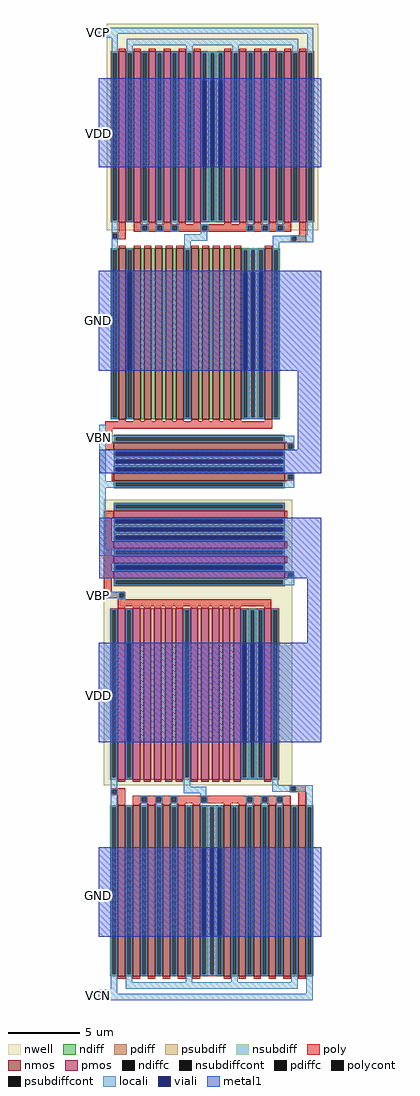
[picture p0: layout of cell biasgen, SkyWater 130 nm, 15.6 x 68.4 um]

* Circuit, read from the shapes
.subckt biasgen VBN VBP
XM1 GND VBN VBN GND sky130_fd_pr__nfet_01v8 w=12 l=0.5 m=2
XM2 n1 VCN VCN GND sky130_fd_pr__nfet_01v8 w=12 l=0.5 m=2
XM3 GND VBN VCP GND sky130_fd_pr__nfet_01v8 w=12 l=0.5 m=2
XM4 n2 n2 n1 GND sky130_fd_pr__nfet_01v8 w=12 l=0.5 m=4
XM5 n3 VBN GND GND sky130_fd_pr__nfet_01v8 w=12 l=0.5
XM6 n4 VBN n3 GND sky130_fd_pr__nfet_01v8 w=12 l=0.5
XM7 n2 n2 n2 GND sky130_fd_pr__nfet_01v8 w=12 l=0.5 m=4
XM8 n5 VBN n4 GND sky130_fd_pr__nfet_01v8 w=12 l=0.5
XM9 n6 VBN n5 GND sky130_fd_pr__nfet_01v8 w=12 l=0.5
XM10 n7 VBN n6 GND sky130_fd_pr__nfet_01v8 w=12 l=0.5
XM11 n8 VBN n7 GND sky130_fd_pr__nfet_01v8 w=12 l=0.5
XM12 GND n2 n1 GND sky130_fd_pr__nfet_01v8 w=12 l=0.5 m=2
XM13 n9 VBN n8 GND sky130_fd_pr__nfet_01v8 w=12 l=0.5
XM14 n10 VBN n9 GND sky130_fd_pr__nfet_01v8 w=12 l=0.5
XM15 n11 VBN n10 GND sky130_fd_pr__nfet_01v8 w=12 l=0.5
XM16 GND VBN n11 GND sky130_fd_pr__nfet_01v8 w=12 l=0.5
XM17 VDD VBP VBP VDD sky130_fd_pr__pfet_01v8 w=12 l=0.5
XM18 VBN VBP VDD VDD sky130_fd_pr__pfet_01v8 w=12 l=0.5 m=2
XM19 n12 VBP VDD VDD sky130_fd_pr__pfet_01v8 w=12 l=0.5
XM20 VDD VBP VCN VDD sky130_fd_pr__pfet_01v8 w=12 l=0.5 m=2
XM21 n13 VCP VCP VDD sky130_fd_pr__pfet_01v8 w=12 l=0.5 m=2
XM22 n14 VBP VDD VDD sky130_fd_pr__pfet_01v8 w=12 l=0.5
XM23 n7 n7 n13 VDD sky130_fd_pr__pfet_01v8 w=12 l=0.5 m=4
XM24 n15 VBP n14 VDD sky130_fd_pr__pfet_01v8 w=12 l=0.5
XM25 n7 n7 n7 VDD sky130_fd_pr__pfet_01v8 w=12 l=0.5 m=4
XM26 n16 VBP n15 VDD sky130_fd_pr__pfet_01v8 w=12 l=0.5
XM27 n17 VBP n16 VDD sky130_fd_pr__pfet_01v8 w=12 l=0.5
XM28 n2 VBP n17 VDD sky130_fd_pr__pfet_01v8 w=12 l=0.5
XM29 n18 VBP n2 VDD sky130_fd_pr__pfet_01v8 w=12 l=0.5
XM30 VDD n7 n13 VDD sky130_fd_pr__pfet_01v8 w=12 l=0.5 m=2
XM31 n19 VBP n18 VDD sky130_fd_pr__pfet_01v8 w=12 l=0.5
XM32 n20 VBP n19 VDD sky130_fd_pr__pfet_01v8 w=12 l=0.5
XM33 n21 VBP n20 VDD sky130_fd_pr__pfet_01v8 w=12 l=0.5
XM34 VDD VBP n21 VDD sky130_fd_pr__pfet_01v8 w=12 l=0.5
.ends

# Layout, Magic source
magic
tech sky130A
magscale 1 2
<< nwell >>
rect -4830 -290 -1860 2600
rect -4870 -8070 -2230 -4070
<< nmos >>
rect -4660 -2940 -4560 -540
rect -4450 -2940 -4350 -540
rect -4300 -2940 -4200 -540
rect -4150 -2940 -4050 -540
rect -4000 -2940 -3900 -540
rect -3850 -2940 -3750 -540
rect -3640 -2940 -3540 -540
rect -3490 -2940 -3390 -540
rect -3340 -2940 -3240 -540
rect -3190 -2940 -3090 -540
rect -3040 -2940 -2940 -540
rect -2610 -2940 -2510 -540
rect -4730 -3370 -2330 -3270
rect -4730 -3800 -2330 -3700
rect -4670 -10750 -4570 -8350
rect -4460 -10750 -4360 -8350
rect -4250 -10750 -4150 -8350
rect -4040 -10750 -3940 -8350
rect -3830 -10750 -3730 -8350
rect -3620 -10750 -3520 -8350
rect -3190 -10750 -3090 -8350
rect -2980 -10750 -2880 -8350
rect -2770 -10750 -2670 -8350
rect -2560 -10750 -2460 -8350
rect -2350 -10750 -2250 -8350
rect -2140 -10750 -2040 -8350
<< pmos >>
rect -4660 -180 -4560 2220
rect -4450 -180 -4350 2220
rect -4240 -180 -4140 2220
rect -4030 -180 -3930 2220
rect -3820 -180 -3720 2220
rect -3610 -180 -3510 2220
rect -3180 -180 -3080 2220
rect -2970 -180 -2870 2220
rect -2760 -180 -2660 2220
rect -2550 -180 -2450 2220
rect -2340 -180 -2240 2220
rect -2130 -180 -2030 2220
rect -4730 -4320 -2330 -4220
rect -4730 -4750 -2330 -4650
rect -4730 -4960 -2330 -4860
rect -4730 -5170 -2330 -5070
rect -4670 -7990 -4570 -5590
rect -4460 -7990 -4360 -5590
rect -4310 -7990 -4210 -5590
rect -4160 -7990 -4060 -5590
rect -4010 -7990 -3910 -5590
rect -3860 -7990 -3760 -5590
rect -3650 -7990 -3550 -5590
rect -3500 -7990 -3400 -5590
rect -3350 -7990 -3250 -5590
rect -3200 -7990 -3100 -5590
rect -3050 -7990 -2950 -5590
rect -2620 -7990 -2520 -5590
<< ndiff >>
rect -4770 -570 -4660 -540
rect -4770 -2910 -4740 -570
rect -4690 -2910 -4660 -570
rect -4770 -2940 -4660 -2910
rect -4560 -570 -4450 -540
rect -4560 -2910 -4530 -570
rect -4480 -2910 -4450 -570
rect -4560 -2940 -4450 -2910
rect -4350 -2940 -4300 -540
rect -4200 -2940 -4150 -540
rect -4050 -2940 -4000 -540
rect -3900 -2940 -3850 -540
rect -3750 -570 -3640 -540
rect -3750 -2910 -3720 -570
rect -3670 -2910 -3640 -570
rect -3750 -2940 -3640 -2910
rect -3540 -2940 -3490 -540
rect -3390 -2940 -3340 -540
rect -3240 -2940 -3190 -540
rect -3090 -2940 -3040 -540
rect -2940 -570 -2830 -540
rect -2720 -570 -2610 -540
rect -2940 -2910 -2910 -570
rect -2860 -2910 -2830 -570
rect -2720 -2910 -2690 -570
rect -2640 -2910 -2610 -570
rect -2940 -2940 -2830 -2910
rect -2720 -2940 -2610 -2910
rect -2510 -570 -2400 -540
rect -2510 -2910 -2480 -570
rect -2430 -2910 -2400 -570
rect -2510 -2940 -2400 -2910
rect -4730 -3190 -2330 -3160
rect -4730 -3240 -4700 -3190
rect -2360 -3240 -2330 -3190
rect -4730 -3270 -2330 -3240
rect -4730 -3400 -2330 -3370
rect -4730 -3450 -4700 -3400
rect -2360 -3450 -2330 -3400
rect -4730 -3480 -2330 -3450
rect -4730 -3620 -2330 -3590
rect -4730 -3670 -4700 -3620
rect -2360 -3670 -2330 -3620
rect -4730 -3700 -2330 -3670
rect -4730 -3830 -2330 -3800
rect -4730 -3880 -4700 -3830
rect -2360 -3880 -2330 -3830
rect -4730 -3910 -2330 -3880
rect -4780 -8380 -4670 -8350
rect -4780 -10720 -4750 -8380
rect -4700 -10720 -4670 -8380
rect -4780 -10750 -4670 -10720
rect -4570 -8380 -4460 -8350
rect -4570 -10720 -4540 -8380
rect -4490 -10720 -4460 -8380
rect -4570 -10750 -4460 -10720
rect -4360 -8380 -4250 -8350
rect -4360 -10720 -4330 -8380
rect -4280 -10720 -4250 -8380
rect -4360 -10750 -4250 -10720
rect -4150 -8380 -4040 -8350
rect -4150 -10720 -4120 -8380
rect -4070 -10720 -4040 -8380
rect -4150 -10750 -4040 -10720
rect -3940 -8380 -3830 -8350
rect -3940 -10720 -3910 -8380
rect -3860 -10720 -3830 -8380
rect -3940 -10750 -3830 -10720
rect -3730 -8380 -3620 -8350
rect -3730 -10720 -3700 -8380
rect -3650 -10720 -3620 -8380
rect -3730 -10750 -3620 -10720
rect -3520 -8380 -3410 -8350
rect -3300 -8380 -3190 -8350
rect -3520 -10720 -3490 -8380
rect -3440 -10720 -3410 -8380
rect -3300 -10720 -3270 -8380
rect -3220 -10720 -3190 -8380
rect -3520 -10750 -3410 -10720
rect -3300 -10750 -3190 -10720
rect -3090 -8380 -2980 -8350
rect -3090 -10720 -3060 -8380
rect -3010 -10720 -2980 -8380
rect -3090 -10750 -2980 -10720
rect -2880 -8380 -2770 -8350
rect -2880 -10720 -2850 -8380
rect -2800 -10720 -2770 -8380
rect -2880 -10750 -2770 -10720
rect -2670 -8380 -2560 -8350
rect -2670 -10720 -2640 -8380
rect -2590 -10720 -2560 -8380
rect -2670 -10750 -2560 -10720
rect -2460 -8380 -2350 -8350
rect -2460 -10720 -2430 -8380
rect -2380 -10720 -2350 -8380
rect -2460 -10750 -2350 -10720
rect -2250 -8380 -2140 -8350
rect -2250 -10720 -2220 -8380
rect -2170 -10720 -2140 -8380
rect -2250 -10750 -2140 -10720
rect -2040 -8380 -1930 -8350
rect -2040 -10720 -2010 -8380
rect -1960 -10720 -1930 -8380
rect -2040 -10750 -1930 -10720
<< pdiff >>
rect -4770 2190 -4660 2220
rect -4770 -150 -4740 2190
rect -4690 -150 -4660 2190
rect -4770 -180 -4660 -150
rect -4560 2190 -4450 2220
rect -4560 -150 -4530 2190
rect -4480 -150 -4450 2190
rect -4560 -180 -4450 -150
rect -4350 2190 -4240 2220
rect -4350 -150 -4320 2190
rect -4270 -150 -4240 2190
rect -4350 -180 -4240 -150
rect -4140 2190 -4030 2220
rect -4140 -150 -4110 2190
rect -4060 -150 -4030 2190
rect -4140 -180 -4030 -150
rect -3930 2190 -3820 2220
rect -3930 -150 -3900 2190
rect -3850 -150 -3820 2190
rect -3930 -180 -3820 -150
rect -3720 2190 -3610 2220
rect -3720 -150 -3690 2190
rect -3640 -150 -3610 2190
rect -3720 -180 -3610 -150
rect -3510 2190 -3400 2220
rect -3290 2190 -3180 2220
rect -3510 -150 -3480 2190
rect -3430 -150 -3400 2190
rect -3290 -150 -3260 2190
rect -3210 -150 -3180 2190
rect -3510 -180 -3400 -150
rect -3290 -180 -3180 -150
rect -3080 2190 -2970 2220
rect -3080 -150 -3050 2190
rect -3000 -150 -2970 2190
rect -3080 -180 -2970 -150
rect -2870 2190 -2760 2220
rect -2870 -150 -2840 2190
rect -2790 -150 -2760 2190
rect -2870 -180 -2760 -150
rect -2660 2190 -2550 2220
rect -2660 -150 -2630 2190
rect -2580 -150 -2550 2190
rect -2660 -180 -2550 -150
rect -2450 2190 -2340 2220
rect -2450 -150 -2420 2190
rect -2370 -150 -2340 2190
rect -2450 -180 -2340 -150
rect -2240 2190 -2130 2220
rect -2240 -150 -2210 2190
rect -2160 -150 -2130 2190
rect -2240 -180 -2130 -150
rect -2030 2190 -1920 2220
rect -2030 -150 -2000 2190
rect -1950 -150 -1920 2190
rect -2030 -180 -1920 -150
rect -4730 -4140 -2330 -4110
rect -4730 -4190 -4700 -4140
rect -2360 -4190 -2330 -4140
rect -4730 -4220 -2330 -4190
rect -4730 -4350 -2330 -4320
rect -4730 -4400 -4700 -4350
rect -2360 -4400 -2330 -4350
rect -4730 -4430 -2330 -4400
rect -4730 -4570 -2330 -4540
rect -4730 -4620 -4700 -4570
rect -2360 -4620 -2330 -4570
rect -4730 -4650 -2330 -4620
rect -4730 -4780 -2330 -4750
rect -4730 -4830 -4700 -4780
rect -2360 -4830 -2330 -4780
rect -4730 -4860 -2330 -4830
rect -4730 -4990 -2330 -4960
rect -4730 -5040 -4700 -4990
rect -2360 -5040 -2330 -4990
rect -4730 -5070 -2330 -5040
rect -4730 -5200 -2330 -5170
rect -4730 -5250 -4700 -5200
rect -2360 -5250 -2330 -5200
rect -4730 -5280 -2330 -5250
rect -4780 -5620 -4670 -5590
rect -4780 -7960 -4750 -5620
rect -4700 -7960 -4670 -5620
rect -4780 -7990 -4670 -7960
rect -4570 -5620 -4460 -5590
rect -4570 -7960 -4540 -5620
rect -4490 -7960 -4460 -5620
rect -4570 -7990 -4460 -7960
rect -4360 -7990 -4310 -5590
rect -4210 -7990 -4160 -5590
rect -4060 -7990 -4010 -5590
rect -3910 -7990 -3860 -5590
rect -3760 -5620 -3650 -5590
rect -3760 -7960 -3730 -5620
rect -3680 -7960 -3650 -5620
rect -3760 -7990 -3650 -7960
rect -3550 -7990 -3500 -5590
rect -3400 -7990 -3350 -5590
rect -3250 -7990 -3200 -5590
rect -3100 -7990 -3050 -5590
rect -2950 -5620 -2840 -5590
rect -2730 -5620 -2620 -5590
rect -2950 -7960 -2920 -5620
rect -2870 -7960 -2840 -5620
rect -2730 -7960 -2700 -5620
rect -2650 -7960 -2620 -5620
rect -2950 -7990 -2840 -7960
rect -2730 -7990 -2620 -7960
rect -2520 -5620 -2410 -5590
rect -2520 -7960 -2490 -5620
rect -2440 -7960 -2410 -5620
rect -2520 -7990 -2410 -7960
<< ndiffc >>
rect -4740 -2910 -4690 -570
rect -4530 -2910 -4480 -570
rect -3720 -2910 -3670 -570
rect -2910 -2910 -2860 -570
rect -2690 -2910 -2640 -570
rect -2480 -2910 -2430 -570
rect -4700 -3240 -2360 -3190
rect -4700 -3450 -2360 -3400
rect -4700 -3670 -2360 -3620
rect -4700 -3880 -2360 -3830
rect -4750 -10720 -4700 -8380
rect -4540 -10720 -4490 -8380
rect -4330 -10720 -4280 -8380
rect -4120 -10720 -4070 -8380
rect -3910 -10720 -3860 -8380
rect -3700 -10720 -3650 -8380
rect -3490 -10720 -3440 -8380
rect -3270 -10720 -3220 -8380
rect -3060 -10720 -3010 -8380
rect -2850 -10720 -2800 -8380
rect -2640 -10720 -2590 -8380
rect -2430 -10720 -2380 -8380
rect -2220 -10720 -2170 -8380
rect -2010 -10720 -1960 -8380
<< pdiffc >>
rect -4740 -150 -4690 2190
rect -4530 -150 -4480 2190
rect -4320 -150 -4270 2190
rect -4110 -150 -4060 2190
rect -3900 -150 -3850 2190
rect -3690 -150 -3640 2190
rect -3480 -150 -3430 2190
rect -3260 -150 -3210 2190
rect -3050 -150 -3000 2190
rect -2840 -150 -2790 2190
rect -2630 -150 -2580 2190
rect -2420 -150 -2370 2190
rect -2210 -150 -2160 2190
rect -2000 -150 -1950 2190
rect -4700 -4190 -2360 -4140
rect -4700 -4400 -2360 -4350
rect -4700 -4620 -2360 -4570
rect -4700 -4830 -2360 -4780
rect -4700 -5040 -2360 -4990
rect -4700 -5250 -2360 -5200
rect -4750 -7960 -4700 -5620
rect -4540 -7960 -4490 -5620
rect -3730 -7960 -3680 -5620
rect -2920 -7960 -2870 -5620
rect -2700 -7960 -2650 -5620
rect -2490 -7960 -2440 -5620
<< psubdiff >>
rect -2830 -570 -2720 -540
rect -2830 -2910 -2800 -570
rect -2750 -2910 -2720 -570
rect -2830 -2940 -2720 -2910
rect -4730 -3510 -2330 -3480
rect -4730 -3560 -4700 -3510
rect -2360 -3560 -2330 -3510
rect -4730 -3590 -2330 -3560
rect -3410 -8380 -3300 -8350
rect -3410 -10720 -3380 -8380
rect -3330 -10720 -3300 -8380
rect -3410 -10750 -3300 -10720
<< nsubdiff >>
rect -3400 2190 -3290 2220
rect -3400 -150 -3370 2190
rect -3320 -150 -3290 2190
rect -3400 -180 -3290 -150
rect -4730 -4460 -2330 -4430
rect -4730 -4510 -4700 -4460
rect -2360 -4510 -2330 -4460
rect -4730 -4540 -2330 -4510
rect -2840 -5620 -2730 -5590
rect -2840 -7960 -2810 -5620
rect -2760 -7960 -2730 -5620
rect -2840 -7990 -2730 -7960
<< psubdiffcont >>
rect -2800 -2910 -2750 -570
rect -4700 -3560 -2360 -3510
rect -3380 -10720 -3330 -8380
<< nsubdiffcont >>
rect -3370 -150 -3320 2190
rect -4700 -4510 -2360 -4460
rect -2810 -7960 -2760 -5620
<< poly >>
rect -4660 2220 -4560 2250
rect -4450 2220 -4350 2250
rect -4240 2220 -4140 2250
rect -4030 2220 -3930 2250
rect -3820 2220 -3720 2250
rect -3610 2220 -3510 2250
rect -3180 2220 -3080 2250
rect -2970 2220 -2870 2250
rect -2760 2220 -2660 2250
rect -2550 2220 -2450 2250
rect -2340 2220 -2240 2250
rect -2130 2220 -2030 2250
rect -4660 -320 -4560 -180
rect -4450 -210 -4350 -180
rect -4240 -210 -4140 -180
rect -4030 -210 -3930 -180
rect -3820 -210 -3720 -180
rect -3610 -210 -3510 -180
rect -3180 -210 -3080 -180
rect -2970 -210 -2870 -180
rect -2760 -210 -2660 -180
rect -2550 -210 -2450 -180
rect -2340 -210 -2240 -180
rect -4450 -230 -2240 -210
rect -4450 -290 -4330 -230
rect -4260 -290 -4120 -230
rect -4050 -290 -3910 -230
rect -3840 -290 -3490 -230
rect -3420 -290 -2850 -230
rect -2780 -290 -2640 -230
rect -2570 -290 -2430 -230
rect -2360 -290 -2240 -230
rect -4450 -310 -2240 -290
rect -4760 -340 -4560 -320
rect -4760 -400 -4740 -340
rect -4680 -400 -4560 -340
rect -2130 -360 -2030 -180
rect -4760 -420 -4560 -400
rect -2250 -380 -2030 -360
rect -2250 -440 -2230 -380
rect -2170 -440 -2030 -380
rect -2250 -460 -2030 -440
rect -4660 -540 -4560 -510
rect -4450 -540 -4350 -510
rect -4300 -540 -4200 -510
rect -4150 -540 -4050 -510
rect -4000 -540 -3900 -510
rect -3850 -540 -3750 -510
rect -3640 -540 -3540 -510
rect -3490 -540 -3390 -510
rect -3340 -540 -3240 -510
rect -3190 -540 -3090 -510
rect -3040 -540 -2940 -510
rect -2610 -540 -2510 -510
rect -4660 -2970 -4560 -2940
rect -4450 -2970 -4350 -2940
rect -4300 -2970 -4200 -2940
rect -4150 -2970 -4050 -2940
rect -4000 -2970 -3900 -2940
rect -3850 -2970 -3750 -2940
rect -3640 -2970 -3540 -2940
rect -3490 -2970 -3390 -2940
rect -3340 -2970 -3240 -2940
rect -3190 -2970 -3090 -2940
rect -3040 -2970 -2940 -2940
rect -2610 -2970 -2510 -2940
rect -4850 -3070 -2510 -2970
rect -4850 -3270 -4750 -3070
rect -4850 -3370 -4730 -3270
rect -2330 -3290 -2200 -3270
rect -2330 -3350 -2280 -3290
rect -2220 -3350 -2200 -3290
rect -2330 -3370 -2200 -3350
rect -4760 -3800 -4730 -3700
rect -2330 -3720 -2200 -3700
rect -2330 -3780 -2280 -3720
rect -2220 -3780 -2200 -3720
rect -2330 -3800 -2200 -3780
rect -4870 -4320 -4730 -4220
rect -2330 -4320 -2300 -4220
rect -4870 -4650 -4760 -4320
rect -4870 -4750 -4730 -4650
rect -2330 -4750 -2300 -4650
rect -4870 -4860 -4760 -4750
rect -4870 -4960 -4730 -4860
rect -2330 -4960 -2300 -4860
rect -4870 -5070 -4760 -4960
rect -4870 -5170 -4730 -5070
rect -2330 -5090 -2200 -5070
rect -2330 -5150 -2280 -5090
rect -2220 -5150 -2200 -5090
rect -2330 -5170 -2200 -5150
rect -4870 -5360 -4760 -5170
rect -4870 -5380 -4570 -5360
rect -4870 -5440 -4650 -5380
rect -4590 -5440 -4570 -5380
rect -4870 -5450 -4570 -5440
rect -4670 -5460 -4570 -5450
rect -4670 -5560 -2520 -5460
rect -4670 -5590 -4570 -5560
rect -4460 -5590 -4360 -5560
rect -4310 -5590 -4210 -5560
rect -4160 -5590 -4060 -5560
rect -4010 -5590 -3910 -5560
rect -3860 -5590 -3760 -5560
rect -3650 -5590 -3550 -5560
rect -3500 -5590 -3400 -5560
rect -3350 -5590 -3250 -5560
rect -3200 -5590 -3100 -5560
rect -3050 -5590 -2950 -5560
rect -2620 -5590 -2520 -5560
rect -4670 -8020 -4570 -7990
rect -4460 -8020 -4360 -7990
rect -4310 -8020 -4210 -7990
rect -4160 -8020 -4060 -7990
rect -4010 -8020 -3910 -7990
rect -3860 -8020 -3760 -7990
rect -3650 -8020 -3550 -7990
rect -3500 -8020 -3400 -7990
rect -3350 -8020 -3250 -7990
rect -3200 -8020 -3100 -7990
rect -3050 -8020 -2950 -7990
rect -2620 -8020 -2520 -7990
rect -2260 -8090 -2040 -8070
rect -4770 -8130 -4570 -8110
rect -4770 -8190 -4750 -8130
rect -4690 -8190 -4570 -8130
rect -2260 -8150 -2240 -8090
rect -2180 -8150 -2040 -8090
rect -2260 -8170 -2040 -8150
rect -4770 -8210 -4570 -8190
rect -4670 -8350 -4570 -8210
rect -4460 -8240 -2250 -8220
rect -4460 -8300 -4340 -8240
rect -4270 -8300 -4130 -8240
rect -4060 -8300 -3920 -8240
rect -3850 -8300 -3500 -8240
rect -3430 -8300 -2860 -8240
rect -2790 -8300 -2650 -8240
rect -2580 -8300 -2440 -8240
rect -2370 -8300 -2250 -8240
rect -4460 -8320 -2250 -8300
rect -4460 -8350 -4360 -8320
rect -4250 -8350 -4150 -8320
rect -4040 -8350 -3940 -8320
rect -3830 -8350 -3730 -8320
rect -3620 -8350 -3520 -8320
rect -3190 -8350 -3090 -8320
rect -2980 -8350 -2880 -8320
rect -2770 -8350 -2670 -8320
rect -2560 -8350 -2460 -8320
rect -2350 -8350 -2250 -8320
rect -2140 -8350 -2040 -8170
rect -4670 -10780 -4570 -10750
rect -4460 -10780 -4360 -10750
rect -4250 -10780 -4150 -10750
rect -4040 -10780 -3940 -10750
rect -3830 -10780 -3730 -10750
rect -3620 -10780 -3520 -10750
rect -3190 -10780 -3090 -10750
rect -2980 -10780 -2880 -10750
rect -2770 -10780 -2670 -10750
rect -2560 -10780 -2460 -10750
rect -2350 -10780 -2250 -10750
rect -2140 -10780 -2040 -10750
<< polycont >>
rect -4330 -290 -4260 -230
rect -4120 -290 -4050 -230
rect -3910 -290 -3840 -230
rect -3490 -290 -3420 -230
rect -2850 -290 -2780 -230
rect -2640 -290 -2570 -230
rect -2430 -290 -2360 -230
rect -4740 -400 -4680 -340
rect -2230 -440 -2170 -380
rect -2280 -3350 -2220 -3290
rect -2280 -3780 -2220 -3720
rect -2280 -5150 -2220 -5090
rect -4650 -5440 -4590 -5380
rect -4750 -8190 -4690 -8130
rect -2240 -8150 -2180 -8090
rect -4340 -8300 -4270 -8240
rect -4130 -8300 -4060 -8240
rect -3920 -8300 -3850 -8240
rect -3500 -8300 -3430 -8240
rect -2860 -8300 -2790 -8240
rect -2650 -8300 -2580 -8240
rect -2440 -8300 -2370 -8240
<< locali >>
rect -4940 2460 -1930 2550
rect -4940 2410 -4670 2460
rect -4760 2190 -4670 2410
rect -4760 -150 -4740 2190
rect -4690 -150 -4670 2190
rect -4760 -320 -4670 -150
rect -4550 2300 -2140 2390
rect -4550 2190 -4460 2300
rect -4550 -150 -4530 2190
rect -4480 -150 -4460 2190
rect -4550 -170 -4460 -150
rect -4340 2190 -4250 2210
rect -4340 -150 -4320 2190
rect -4270 -150 -4250 2190
rect -4340 -210 -4250 -150
rect -4130 2190 -4040 2210
rect -4130 -150 -4110 2190
rect -4060 -150 -4040 2190
rect -4130 -210 -4040 -150
rect -3920 2190 -3830 2210
rect -3920 -150 -3900 2190
rect -3850 -150 -3830 2190
rect -3920 -210 -3830 -150
rect -3710 2190 -3620 2300
rect -3710 -150 -3690 2190
rect -3640 -150 -3620 2190
rect -3710 -170 -3620 -150
rect -3500 2190 -3190 2210
rect -3500 -150 -3480 2190
rect -3430 -150 -3370 2190
rect -3320 -150 -3260 2190
rect -3210 -150 -3190 2190
rect -3500 -170 -3190 -150
rect -3070 2190 -2980 2300
rect -3070 -150 -3050 2190
rect -3000 -150 -2980 2190
rect -3070 -170 -2980 -150
rect -2860 2190 -2770 2210
rect -2860 -150 -2840 2190
rect -2790 -150 -2770 2190
rect -2860 -210 -2770 -150
rect -2650 2190 -2560 2210
rect -2650 -150 -2630 2190
rect -2580 -150 -2560 2190
rect -2650 -210 -2560 -150
rect -2440 2190 -2350 2210
rect -2440 -150 -2420 2190
rect -2370 -150 -2350 2190
rect -2440 -210 -2350 -150
rect -2230 2190 -2140 2300
rect -2230 -150 -2210 2190
rect -2160 -150 -2140 2190
rect -2230 -170 -2140 -150
rect -2020 2190 -1930 2460
rect -2020 -150 -2000 2190
rect -1950 -150 -1930 2190
rect -4350 -230 -4240 -210
rect -4350 -290 -4330 -230
rect -4260 -290 -4240 -230
rect -4350 -310 -4240 -290
rect -4140 -230 -4030 -210
rect -4140 -290 -4120 -230
rect -4050 -290 -4030 -230
rect -4140 -310 -4030 -290
rect -3930 -230 -3820 -210
rect -3930 -290 -3910 -230
rect -3840 -290 -3820 -230
rect -3930 -310 -3820 -290
rect -3510 -230 -3400 -210
rect -3510 -290 -3490 -230
rect -3420 -290 -3400 -230
rect -3510 -310 -3400 -290
rect -2870 -230 -2760 -210
rect -2870 -290 -2850 -230
rect -2780 -290 -2760 -230
rect -2870 -310 -2760 -290
rect -2660 -230 -2550 -210
rect -2660 -290 -2640 -230
rect -2570 -290 -2550 -230
rect -2660 -310 -2550 -290
rect -2450 -230 -2340 -210
rect -2450 -290 -2430 -230
rect -2360 -290 -2340 -230
rect -2450 -310 -2340 -290
rect -4760 -340 -4660 -320
rect -4760 -400 -4740 -340
rect -4680 -400 -4660 -340
rect -3510 -350 -3420 -310
rect -4760 -420 -4660 -400
rect -4760 -570 -4670 -420
rect -3740 -440 -3420 -350
rect -2250 -370 -2150 -360
rect -2020 -370 -1930 -150
rect -2500 -380 -1930 -370
rect -2500 -440 -2230 -380
rect -2170 -440 -1930 -380
rect -4760 -2910 -4740 -570
rect -4690 -2910 -4670 -570
rect -4760 -2930 -4670 -2910
rect -4550 -570 -4460 -550
rect -4550 -2910 -4530 -570
rect -4480 -2910 -4460 -570
rect -4550 -2930 -4460 -2910
rect -3740 -570 -3650 -440
rect -2500 -460 -1930 -440
rect -3740 -2910 -3720 -570
rect -3670 -2910 -3650 -570
rect -3740 -2930 -3650 -2910
rect -2930 -570 -2620 -550
rect -2930 -2910 -2910 -570
rect -2860 -2910 -2800 -570
rect -2750 -2910 -2690 -570
rect -2640 -2910 -2620 -570
rect -2930 -2930 -2620 -2910
rect -2500 -570 -2410 -460
rect -2500 -2910 -2480 -570
rect -2430 -2910 -2410 -570
rect -2500 -2930 -2410 -2910
rect -4930 -3170 -4840 -3020
rect -4930 -3190 -2200 -3170
rect -4930 -3240 -4700 -3190
rect -2360 -3240 -2200 -3190
rect -4930 -3260 -2200 -3240
rect -4930 -3810 -4840 -3260
rect -2300 -3290 -2200 -3260
rect -2300 -3350 -2280 -3290
rect -2220 -3350 -2200 -3290
rect -2300 -3370 -2200 -3350
rect -4720 -3400 -2340 -3380
rect -4720 -3450 -4700 -3400
rect -2360 -3450 -2340 -3400
rect -4720 -3510 -2340 -3450
rect -4720 -3560 -4700 -3510
rect -2360 -3560 -2340 -3510
rect -4720 -3620 -2340 -3560
rect -4720 -3670 -4700 -3620
rect -2360 -3670 -2340 -3620
rect -4720 -3690 -2340 -3670
rect -2300 -3720 -2200 -3700
rect -2300 -3780 -2280 -3720
rect -2220 -3780 -2200 -3720
rect -2300 -3810 -2200 -3780
rect -4930 -3830 -2200 -3810
rect -4930 -3880 -4700 -3830
rect -2360 -3880 -2200 -3830
rect -4930 -3900 -2200 -3880
rect -4930 -4760 -4840 -3900
rect -4720 -4140 -2340 -4120
rect -4720 -4190 -4700 -4140
rect -2360 -4190 -2340 -4140
rect -4720 -4210 -2340 -4190
rect -4720 -4350 -2340 -4330
rect -4720 -4400 -4700 -4350
rect -2360 -4400 -2340 -4350
rect -4720 -4460 -2340 -4400
rect -4720 -4510 -4700 -4460
rect -2360 -4510 -2340 -4460
rect -4720 -4570 -2340 -4510
rect -4720 -4620 -4700 -4570
rect -2360 -4620 -2340 -4570
rect -4720 -4640 -2340 -4620
rect -4930 -4780 -2330 -4760
rect -4930 -4830 -4700 -4780
rect -2360 -4830 -2330 -4780
rect -4930 -4850 -2330 -4830
rect -4720 -4990 -2340 -4970
rect -4720 -5040 -4700 -4990
rect -2360 -5040 -2340 -4990
rect -4720 -5060 -2340 -5040
rect -2300 -5090 -2200 -5070
rect -2300 -5150 -2280 -5090
rect -2220 -5150 -2200 -5090
rect -2300 -5180 -2200 -5150
rect -4720 -5200 -2200 -5180
rect -4720 -5250 -4700 -5200
rect -2360 -5250 -2200 -5200
rect -4720 -5270 -2200 -5250
rect -4940 -5380 -4570 -5360
rect -4940 -5440 -4650 -5380
rect -4590 -5440 -4570 -5380
rect -4940 -5450 -4570 -5440
rect -4670 -5460 -4570 -5450
rect -4770 -5620 -4680 -5600
rect -4770 -7960 -4750 -5620
rect -4700 -7960 -4680 -5620
rect -4770 -8110 -4680 -7960
rect -4560 -5620 -4470 -5600
rect -4560 -7960 -4540 -5620
rect -4490 -7960 -4470 -5620
rect -4560 -7980 -4470 -7960
rect -3750 -5620 -3660 -5600
rect -3750 -7960 -3730 -5620
rect -3680 -7960 -3660 -5620
rect -3750 -8090 -3660 -7960
rect -2940 -5620 -2630 -5600
rect -2940 -7960 -2920 -5620
rect -2870 -7960 -2810 -5620
rect -2760 -7960 -2700 -5620
rect -2650 -7960 -2630 -5620
rect -2940 -7980 -2630 -7960
rect -2510 -5620 -2420 -5600
rect -2510 -7960 -2490 -5620
rect -2440 -7960 -2420 -5620
rect -2510 -8070 -2420 -7960
rect -2510 -8090 -1940 -8070
rect -4770 -8130 -4670 -8110
rect -4770 -8190 -4750 -8130
rect -4690 -8190 -4670 -8130
rect -3750 -8180 -3430 -8090
rect -2510 -8150 -2240 -8090
rect -2180 -8150 -1940 -8090
rect -2510 -8160 -1940 -8150
rect -2260 -8170 -2160 -8160
rect -4770 -8210 -4670 -8190
rect -4770 -8380 -4680 -8210
rect -3520 -8220 -3430 -8180
rect -4360 -8240 -4250 -8220
rect -4360 -8300 -4340 -8240
rect -4270 -8300 -4250 -8240
rect -4360 -8320 -4250 -8300
rect -4150 -8240 -4040 -8220
rect -4150 -8300 -4130 -8240
rect -4060 -8300 -4040 -8240
rect -4150 -8320 -4040 -8300
rect -3940 -8240 -3830 -8220
rect -3940 -8300 -3920 -8240
rect -3850 -8300 -3830 -8240
rect -3940 -8320 -3830 -8300
rect -3520 -8240 -3410 -8220
rect -3520 -8300 -3500 -8240
rect -3430 -8300 -3410 -8240
rect -3520 -8320 -3410 -8300
rect -2880 -8240 -2770 -8220
rect -2880 -8300 -2860 -8240
rect -2790 -8300 -2770 -8240
rect -2880 -8320 -2770 -8300
rect -2670 -8240 -2560 -8220
rect -2670 -8300 -2650 -8240
rect -2580 -8300 -2560 -8240
rect -2670 -8320 -2560 -8300
rect -2460 -8240 -2350 -8220
rect -2460 -8300 -2440 -8240
rect -2370 -8300 -2350 -8240
rect -2460 -8320 -2350 -8300
rect -4770 -10720 -4750 -8380
rect -4700 -10720 -4680 -8380
rect -4770 -10930 -4680 -10720
rect -4560 -8380 -4470 -8360
rect -4560 -10720 -4540 -8380
rect -4490 -10720 -4470 -8380
rect -4560 -10830 -4470 -10720
rect -4350 -8380 -4260 -8320
rect -4350 -10720 -4330 -8380
rect -4280 -10720 -4260 -8380
rect -4350 -10740 -4260 -10720
rect -4140 -8380 -4050 -8320
rect -4140 -10720 -4120 -8380
rect -4070 -10720 -4050 -8380
rect -4140 -10740 -4050 -10720
rect -3930 -8380 -3840 -8320
rect -3930 -10720 -3910 -8380
rect -3860 -10720 -3840 -8380
rect -3930 -10740 -3840 -10720
rect -3720 -8380 -3630 -8360
rect -3720 -10720 -3700 -8380
rect -3650 -10720 -3630 -8380
rect -3720 -10830 -3630 -10720
rect -3510 -8380 -3200 -8360
rect -3510 -10720 -3490 -8380
rect -3440 -10720 -3380 -8380
rect -3330 -10720 -3270 -8380
rect -3220 -10720 -3200 -8380
rect -3510 -10740 -3200 -10720
rect -3080 -8380 -2990 -8360
rect -3080 -10720 -3060 -8380
rect -3010 -10720 -2990 -8380
rect -3080 -10830 -2990 -10720
rect -2870 -8380 -2780 -8320
rect -2870 -10720 -2850 -8380
rect -2800 -10720 -2780 -8380
rect -2870 -10740 -2780 -10720
rect -2660 -8380 -2570 -8320
rect -2660 -10720 -2640 -8380
rect -2590 -10720 -2570 -8380
rect -2660 -10740 -2570 -10720
rect -2450 -8380 -2360 -8320
rect -2450 -10720 -2430 -8380
rect -2380 -10720 -2360 -8380
rect -2450 -10740 -2360 -10720
rect -2240 -8380 -2150 -8360
rect -2240 -10720 -2220 -8380
rect -2170 -10720 -2150 -8380
rect -2240 -10830 -2150 -10720
rect -4560 -10920 -2150 -10830
rect -2030 -8380 -1940 -8160
rect -2030 -10720 -2010 -8380
rect -1960 -10720 -1940 -8380
rect -4940 -10990 -4680 -10930
rect -2030 -10990 -1940 -10720
rect -4940 -11080 -1940 -10990
<< viali >>
rect -3480 600 -3430 1810
rect -3370 600 -3320 1810
rect -3260 600 -3210 1810
rect -4530 -2250 -4480 -880
rect -2910 -2250 -2860 -880
rect -2800 -2250 -2750 -880
rect -2690 -2250 -2640 -880
rect -4700 -3450 -2360 -3400
rect -4700 -3560 -2360 -3510
rect -4700 -3670 -2360 -3620
rect -4700 -4400 -2360 -4350
rect -4700 -4510 -2360 -4460
rect -4700 -4620 -2360 -4570
rect -4700 -5040 -2360 -4990
rect -4540 -7460 -4490 -6080
rect -2920 -7460 -2870 -6080
rect -2810 -7460 -2760 -6080
rect -2700 -7460 -2650 -6080
rect -3490 -10180 -3440 -8950
rect -3380 -10180 -3330 -8950
rect -3270 -10180 -3220 -8950
<< metal1 >>
rect -4940 1810 -1820 1840
rect -4940 600 -3480 1810
rect -3430 600 -3370 1810
rect -3320 600 -3260 1810
rect -3210 600 -1820 1810
rect -4940 590 -1820 600
rect -4940 -880 -1820 -860
rect -4940 -2250 -4530 -880
rect -4480 -2250 -2910 -880
rect -2860 -2250 -2800 -880
rect -2750 -2250 -2690 -880
rect -2640 -2250 -1820 -880
rect -4940 -2260 -1820 -2250
rect -2150 -3370 -1820 -2260
rect -4930 -3400 -1820 -3370
rect -4930 -3450 -4700 -3400
rect -2360 -3450 -1820 -3400
rect -4930 -3510 -1820 -3450
rect -4930 -3560 -4700 -3510
rect -2360 -3560 -1820 -3510
rect -4930 -3620 -1820 -3560
rect -4930 -3670 -4700 -3620
rect -2360 -3670 -1820 -3620
rect -4930 -3700 -1820 -3670
rect -4930 -4350 -1820 -4320
rect -4930 -4400 -4700 -4350
rect -2360 -4400 -1820 -4350
rect -4930 -4460 -1820 -4400
rect -4930 -4510 -4700 -4460
rect -2360 -4510 -1820 -4460
rect -4930 -4570 -1820 -4510
rect -4930 -4620 -4700 -4570
rect -2360 -4620 -1820 -4570
rect -4930 -4990 -1820 -4620
rect -4930 -5040 -4700 -4990
rect -2360 -5040 -1820 -4990
rect -4930 -5170 -1820 -5040
rect -2020 -6070 -1820 -5170
rect -4940 -6080 -1820 -6070
rect -4940 -7460 -4540 -6080
rect -4490 -7460 -2920 -6080
rect -2870 -7460 -2810 -6080
rect -2760 -7460 -2700 -6080
rect -2650 -7460 -1820 -6080
rect -4940 -7470 -1820 -7460
rect -4940 -8950 -1820 -8940
rect -4940 -10180 -3490 -8950
rect -3440 -10180 -3380 -8950
rect -3330 -10180 -3270 -8950
rect -3220 -10180 -1820 -8950
rect -4940 -10190 -1820 -10180
<< labels >>
rlabel metal1 -4940 -9620 -4940 -9620 7 GND
rlabel metal1 -4940 -6810 -4940 -6810 7 VDD
rlabel metal1 -4940 -1560 -4940 -1560 7 GND
rlabel metal1 -4940 1060 -4940 1060 7 VDD
rlabel locali -4940 2480 -4940 2480 7 VCP
rlabel locali -4940 -11010 -4940 -11010 7 VCN
flabel locali -4930 -3200 -4930 -3200 0 FreeSans 640 0 0 0 VBN
port 1 nsew
rlabel locali -4940 -5410 -4940 -5410 7 VBP
port 2 w
<< end >>
